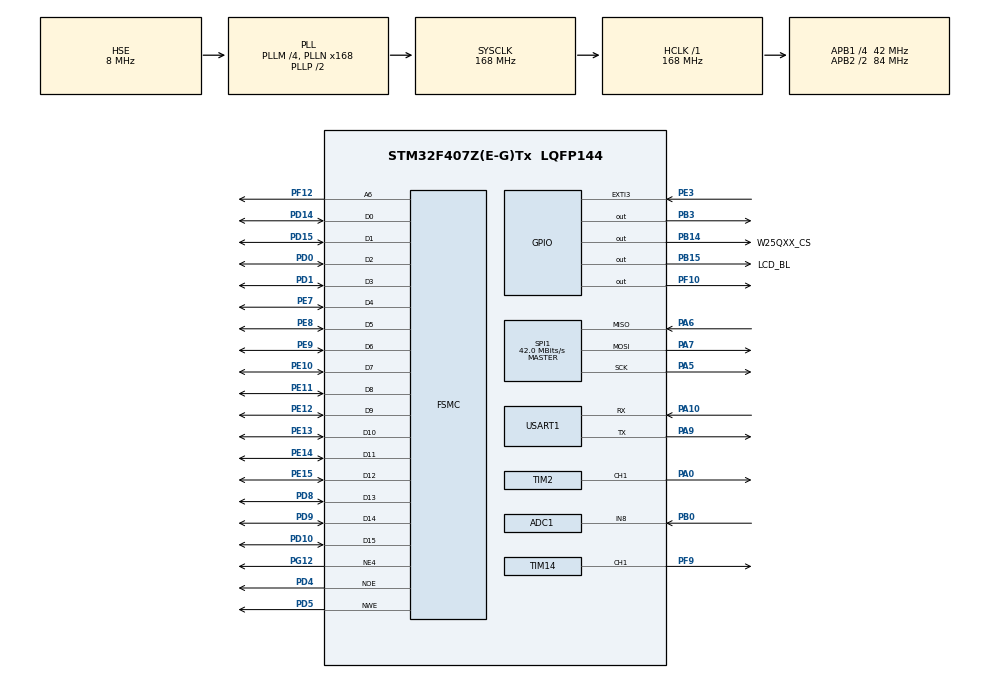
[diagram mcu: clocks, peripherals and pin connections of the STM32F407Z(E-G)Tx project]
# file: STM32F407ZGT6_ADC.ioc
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ADC1.Channel-0\#ChannelRegularConversion=ADC_CHANNEL_8
ADC1.NbrOfConversionFlag=1
ADC1.Rank-0\#ChannelRegularConversion=1
ADC1.SamplingTime-0\#ChannelRegularConversion=ADC_SAMPLETIME_3CYCLES
ADC1.master=1
Dma.Request0=USART1_RX
Dma.Request1=USART1_TX
Dma.USART1_RX.0.Direction=DMA_PERIPH_TO_MEMORY
Dma.USART1_RX.0.FIFOMode=DMA_FIFOMODE_DISABLE
Dma.USART1_RX.0.Instance=DMA2_Stream2
Dma.USART1_RX.0.MemDataAlignment=DMA_MDATAALIGN_BYTE
Dma.USART1_RX.0.MemInc=DMA_MINC_ENABLE
Dma.USART1_RX.0.Mode=DMA_NORMAL
Dma.USART1_RX.0.PeriphDataAlignment=DMA_PDATAALIGN_BYTE
Dma.USART1_RX.0.PeriphInc=DMA_PINC_DISABLE
Dma.USART1_RX.0.Priority=DMA_PRIORITY_LOW
Dma.USART1_TX.1.Direction=DMA_MEMORY_TO_PERIPH
Dma.USART1_TX.1.FIFOMode=DMA_FIFOMODE_DISABLE
Dma.USART1_TX.1.Instance=DMA2_Stream7
Dma.USART1_TX.1.MemDataAlignment=DMA_MDATAALIGN_BYTE
Dma.USART1_TX.1.MemInc=DMA_MINC_ENABLE
Dma.USART1_TX.1.Mode=DMA_NORMAL
Dma.USART1_TX.1.PeriphDataAlignment=DMA_PDATAALIGN_BYTE
Dma.USART1_TX.1.PeriphInc=DMA_PINC_DISABLE
Dma.USART1_TX.1.Priority=DMA_PRIORITY_LOW
FSMC.BusTurnAroundDuration1=0
FSMC.DataSetupTime1=60
FSMC.ExtendedAddressSetupTime1=9
FSMC.ExtendedBusTurnAroundDuration1=0
FSMC.ExtendedDataSetupTime1=8
FSMC.ExtendedMode1=FSMC_EXTENDED_MODE_ENABLE
Mcu.Family=STM32F4
Mcu.Name=STM32F407Z(E-G)Tx
Mcu.Package=LQFP144
NVIC.DMA2_Stream2_IRQn=true\:0\:0\:false\:false\:true\:false\:true\:true
NVIC.DMA2_Stream7_IRQn=true\:0\:0\:false\:false\:true\:false\:true\:true
NVIC.EXTI3_IRQn=true\:0\:0\:false\:false\:true\:true\:true\:true
NVIC.PriorityGroup=NVIC_PRIORITYGROUP_4
NVIC.TIM2_IRQn=true\:0\:0\:false\:false\:true\:true\:true\:true
PA0-WKUP.Signal=S_TIM2_CH1_ETR
PA10.Mode=Asynchronous
PA10.Signal=USART1_RX
PA13.Mode=Serial_Wire
PA13.Signal=SYS_JTMS-SWDIO
PA14.Mode=Serial_Wire
PA14.Signal=SYS_JTCK-SWCLK
PA5.Mode=Full_Duplex_Master
PA5.Signal=SPI1_SCK
PA6.Mode=Full_Duplex_Master
PA6.Signal=SPI1_MISO
PA7.Mode=Full_Duplex_Master
PA7.Signal=SPI1_MOSI
PA9.Mode=Asynchronous
PA9.Signal=USART1_TX
PB0.Signal=ADCx_IN8
PB14.GPIO_Label=W25QXX_CS
PB14.GPIO_PuPd=GPIO_PULLUP
PB14.GPIO_Speed=GPIO_SPEED_FREQ_HIGH
PB14.PinState=GPIO_PIN_SET
PB14.Signal=GPIO_Output
PB15.GPIO_Label=LCD_BL
PB15.Signal=GPIO_Output
PB3.Signal=GPIO_Output
PC14-OSC32_IN.Mode=LSE-External-Oscillator
PC14-OSC32_IN.Signal=RCC_OSC32_IN
PC15-OSC32_OUT.Mode=LSE-External-Oscillator
PC15-OSC32_OUT.Signal=RCC_OSC32_OUT
PD0.Signal=FSMC_D2_DA2
PD1.Signal=FSMC_D3_DA3
PD10.Signal=FSMC_D15_DA15
PD14.Signal=FSMC_D0_DA0
PD15.Signal=FSMC_D1_DA1
PD4.Signal=FSMC_NOE
PD5.Signal=FSMC_NWE
PD8.Signal=FSMC_D13_DA13
PD9.Signal=FSMC_D14_DA14
PE10.Signal=FSMC_D7_DA7
PE11.Signal=FSMC_D8_DA8
PE12.Signal=FSMC_D9_DA9
PE13.Signal=FSMC_D10_DA10
PE14.Signal=FSMC_D11_DA11
PE15.Signal=FSMC_D12_DA12
PE3.Signal=GPXTI3
PE7.Signal=FSMC_D4_DA4
PE8.Signal=FSMC_D5_DA5
PE9.Signal=FSMC_D6_DA6
PF10.Signal=GPIO_Output
PF12.Signal=FSMC_A6
PF9.Signal=S_TIM14_CH1
PG12.Mode=NorPsramChipSelect4_1
PG12.Signal=FSMC_NE4
PH0-OSC_IN.Mode=HSE-External-Oscillator
PH0-OSC_IN.Signal=RCC_OSC_IN
PH1-OSC_OUT.Mode=HSE-External-Oscillator
PH1-OSC_OUT.Signal=RCC_OSC_OUT
ProjectManager.HeapSize=0x200
ProjectManager.StackSize=0x400
ProjectManager.TargetToolchain=MDK-ARM V5.32
RCC.48MHZClocksFreq_Value=84000000
RCC.AHBFreq_Value=168000000
RCC.APB1CLKDivider=RCC_HCLK_DIV4
RCC.APB1Freq_Value=42000000
RCC.APB1TimFreq_Value=84000000
RCC.APB2CLKDivider=RCC_HCLK_DIV2
RCC.APB2Freq_Value=84000000
RCC.APB2TimFreq_Value=168000000
RCC.CortexFreq_Value=168000000
RCC.HCLKFreq_Value=168000000
RCC.HSE_VALUE=8000000
RCC.HSI_VALUE=16000000
RCC.PLLM=4
RCC.PLLN=168
RCC.PLLSourceVirtual=RCC_PLLSOURCE_HSE
RCC.SYSCLKFreq_VALUE=168000000
RCC.SYSCLKSource=RCC_SYSCLKSOURCE_PLLCLK
RCC.VCOOutputFreq_Value=336000000
SH.ADCx_IN8.0=ADC1_IN8,IN8
SH.FSMC_A6.0=FSMC_A6,A6_1
SH.FSMC_D0_DA0.0=FSMC_D0,16b-d1
SH.FSMC_D10_DA10.0=FSMC_D10,16b-d1
SH.FSMC_D11_DA11.0=FSMC_D11,16b-d1
SH.FSMC_D12_DA12.0=FSMC_D12,16b-d1
SH.FSMC_D13_DA13.0=FSMC_D13,16b-d1
SH.FSMC_D14_DA14.0=FSMC_D14,16b-d1
SH.FSMC_D15_DA15.0=FSMC_D15,16b-d1
SH.FSMC_D1_DA1.0=FSMC_D1,16b-d1
SH.FSMC_D2_DA2.0=FSMC_D2,16b-d1
SH.FSMC_D3_DA3.0=FSMC_D3,16b-d1
SH.FSMC_D4_DA4.0=FSMC_D4,16b-d1
SH.FSMC_D5_DA5.0=FSMC_D5,16b-d1
SH.FSMC_D6_DA6.0=FSMC_D6,16b-d1
SH.FSMC_D7_DA7.0=FSMC_D7,16b-d1
SH.FSMC_D8_DA8.0=FSMC_D8,16b-d1
SH.FSMC_D9_DA9.0=FSMC_D9,16b-d1
SH.FSMC_NOE.0=FSMC_NOE,Lcd1
SH.FSMC_NWE.0=FSMC_NWE,Lcd1
SH.S_TIM14_CH1.0=TIM14_CH1,PWM Generation1 CH1
SH.S_TIM2_CH1_ETR.0=TIM2_CH1,PWM Generation1 CH1
SPI1.BaudRatePrescaler=SPI_BAUDRATEPRESCALER_2
SPI1.CLKPhase=SPI_PHASE_2EDGE
SPI1.CLKPolarity=SPI_POLARITY_HIGH
SPI1.CalculateBaudRate=42.0 MBits/s
SPI1.Direction=SPI_DIRECTION_2LINES
SPI1.Mode=SPI_MODE_MASTER
SPI1.VirtualType=VM_MASTER
TIM14.Channel=TIM_CHANNEL_1
TIM14.Period=1000-1
TIM14.Prescaler=84-1
TIM2.Channel-PWM\ Generation1\ CH1=TIM_CHANNEL_1
TIM2.OCPolarity_1=TIM_OCPOLARITY_LOW
TIM2.Period=499999
TIM2.Prescaler=83
TIM7.Period=1
TIM7.Prescaler=84-1
USART1.VirtualMode=VM_ASYNC
VP_TIM14_VS_ClockSourceINT.Mode=Enable_Timer
VP_TIM2_VS_ClockSourceINT.Mode=Internal
VP_TIM7_VS_ClockSourceINT.Mode=Enable_Timer
board=custom

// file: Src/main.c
/* USER CODE BEGIN Header */
/**
  ******************************************************************************
  * @file           : main.c
  * @brief          : Main program body
  ******************************************************************************
  * @attention
  *
  * Copyright (c) 2022 STMicroelectronics.
  * All rights reserved.
  *
  * This software is licensed under terms that can be found in the LICENSE file
  * in the root directory of this software component.
  * If no LICENSE file comes with this software, it is provided AS-IS.
  *
  ******************************************************************************
  */
/* USER CODE END Header */
#include "main.h"
#include "adc.h"
#include "dma.h"
#include "spi.h"
#include "tim.h"
#include "usart.h"
#include "gpio.h"
#include "fsmc.h"

/* USER CODE BEGIN PV */
uint8_t buffer[5];
float adc_value;
uint32_t ADC_Value;

/* USER CODE END PV */

void SystemClock_Config(void);

/* USER CODE BEGIN 0 */
void HAL_TIM_PeriodElapsedCallback(TIM_HandleTypeDef *htim)
{
//	HAL_GPIO_TogglePin(GPIOF,GPIO_PIN_10);
}

void HAL_GPIO_EXTI_Callback(uint16_t GPIO_Pin)
{
	if(GPIO_Pin==Key_Pin)
	{
		if(HAL_GPIO_ReadPin(Key_GPIO_Port,Key_Pin)==0)
		{
			HAL_Delay(100);
			while(HAL_GPIO_ReadPin(Key_GPIO_Port,Key_Pin)==0);
			HAL_Delay(100);
//			HAL_TIM_Base_Stop_IT(&htim2);
		}
	}
}

void HAL_UART_RxCpltCallback(UART_HandleTypeDef *huart)
{
	HAL_UART_Transmit_DMA(&huart1,buffer,3);
	HAL_UART_Receive_DMA(&huart1,buffer,3);
}

void PWM()
{
	uint16_t pwmVal=0;
	while (pwmVal< 1000)
		  {
			  pwmVal++;
			  __HAL_TIM_SetCompare(&htim14, TIM_CHANNEL_1, pwmVal);
			  HAL_Delay(1);
		  }
		  while (pwmVal)
		  {
			  pwmVal--;
			  __HAL_TIM_SetCompare(&htim14, TIM_CHANNEL_1, pwmVal);

			  HAL_Delay(1);
		  }
		  HAL_Delay(200);
}

void rtp_test(void)
{
//	uint8_t key;
	uint8_t i=0;
	while(1)
	{

		tp_dev.scan(0);

		if(tp_dev.sta&TP_PRES_DOWN)			//触摸屏被按下
		{

		 	if(tp_dev.x[0]<lcddev.width&&tp_dev.y[0]<lcddev.height)
			{

				if(tp_dev.x[0]>(lcddev.width-24)&&tp_dev.y[0]<16)
					 LCD_Clear(GREEN);//清除
				else
				{
					TP_Draw_Big_Point(tp_dev.x[0],tp_dev.y[0],RED);		//画图
					HAL_GPIO_TogglePin(GPIOF,GPIO_PIN_10);//LED灯闪
				}
			}
		}
		else HAL_Delay(10);	//没有按键按下的时候
		i++;
		if(i%20==0)
		{
//		  HAL_GPIO_TogglePin(GPIOF,GPIO_PIN_10);//LED灯闪，指示系统在运行
		}

	}
}
/* USER CODE END 0 */

int main(void)
{

  /* MCU Configuration--------------------------------------------------------*/

  /* Reset of all peripherals, Initializes the Flash interface and the Systick. */
  HAL_Init();

  /* Configure the system clock */
  SystemClock_Config();

  /* Initialize all configured peripherals */
  MX_GPIO_Init();
  MX_DMA_Init();
  MX_USART1_UART_Init();
  MX_FSMC_Init();
  MX_TIM2_Init();
  MX_TIM14_Init();
  MX_TIM7_Init();
  MX_SPI1_Init();
  MX_ADC1_Init();
  /* USER CODE BEGIN 2 */
  HAL_TIM_Base_Start_IT(&htim2);
  HAL_TIM_PWM_Start(&htim14,TIM_CHANNEL_1);
  HAL_UART_Receive_DMA(&huart1,buffer,3);
  TFTLCD_Init();
  W25QXX_Init();
  TP_Init();
//  LCD_Clear(GREEN);
  LCD_ShowString(30,40,210,24,24,"What a nice day!");
//  LCD_ShowString(30,70,200,16,16,"TFTLCD TEST");
//  LCD_ShowString(30,90,200,16,16,"2020/7/29");

  /* USER CODE END 2 */

  /* Infinite loop */
  while (1)
  {

    /* USER CODE BEGIN 3 */
	HAL_ADC_Start(&hadc1);
	HAL_ADC_PollForConversion(&hadc1, 50);
	if(HAL_IS_BIT_SET(HAL_ADC_GetState(&hadc1), HAL_ADC_STATE_REG_EOC))
	{
		ADC_Value = HAL_ADC_GetValue(&hadc1);
		LCD_ShowString(30,70,200,16,16,"TFTLCD TEST");
		LCD_ShowxNum(30,100,ADC_Value*FACTOR_ADC,6,24,0);
//		printf("PA5 True Voltage value : %.4f \r\n",ADC_Value*3.3f/4096);
		HAL_Delay(500);
	}

//	adc_value = get_adc_value();
//	HAL_Delay(0);
//	LCD_ShowString(30,40,210,24,24,"What a nice day!");
  }
  /* USER CODE END 3 */
}

void SystemClock_Config(void)
{
  RCC_OscInitTypeDef RCC_OscInitStruct = {0};
  RCC_ClkInitTypeDef RCC_ClkInitStruct = {0};

  /** Configure the main internal regulator output voltage
  */
  __HAL_RCC_PWR_CLK_ENABLE();
  __HAL_PWR_VOLTAGESCALING_CONFIG(PWR_REGULATOR_VOLTAGE_SCALE1);

  /** Initializes the RCC Oscillators according to the specified parameters
  * in the RCC_OscInitTypeDef structure.
  */
  RCC_OscInitStruct.OscillatorType = RCC_OSCILLATORTYPE_HSE;
  RCC_OscInitStruct.HSEState = RCC_HSE_ON;
  RCC_OscInitStruct.PLL.PLLState = RCC_PLL_ON;
  RCC_OscInitStruct.PLL.PLLSource = RCC_PLLSOURCE_HSE;
  RCC_OscInitStruct.PLL.PLLM = 4;
  RCC_OscInitStruct.PLL.PLLN = 168;
  RCC_OscInitStruct.PLL.PLLP = RCC_PLLP_DIV2;
  RCC_OscInitStruct.PLL.PLLQ = 4;
  if (HAL_RCC_OscConfig(&RCC_OscInitStruct) != HAL_OK)
  {
    Error_Handler();
  }

  /** Initializes the CPU, AHB and APB buses clocks
  */
  RCC_ClkInitStruct.ClockType = RCC_CLOCKTYPE_HCLK|RCC_CLOCKTYPE_SYSCLK
                              |RCC_CLOCKTYPE_PCLK1|RCC_CLOCKTYPE_PCLK2;
  RCC_ClkInitStruct.SYSCLKSource = RCC_SYSCLKSOURCE_PLLCLK;
  RCC_ClkInitStruct.AHBCLKDivider = RCC_SYSCLK_DIV1;
  RCC_ClkInitStruct.APB1CLKDivider = RCC_HCLK_DIV4;
  RCC_ClkInitStruct.APB2CLKDivider = RCC_HCLK_DIV2;

  if (HAL_RCC_ClockConfig(&RCC_ClkInitStruct, FLASH_LATENCY_5) != HAL_OK)
  {
    Error_Handler();
  }
}

void Error_Handler(void)
{
  __disable_irq();
  while (1)
  {
  }
}
